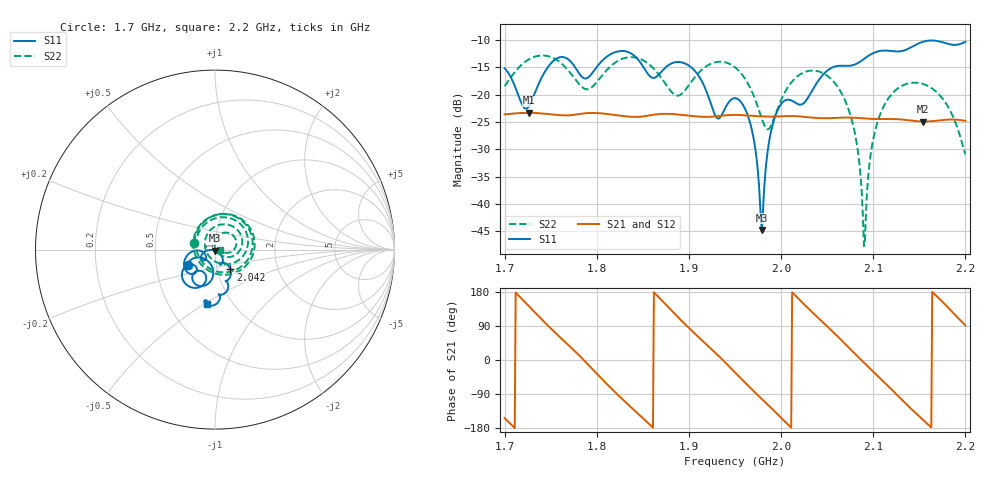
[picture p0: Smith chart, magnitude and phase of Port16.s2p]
# Hz S RI R 50
! CMT, CMT808U, 21440046, 21.4.3/4
! Date: 12/11/2025 6:06:06 PM
! Data: Format (Calibration Info)
! Freq	S11:Re/Im(F2)	S41:Re/Im(F2)	S14:Re/Im(F2)	S44:Re/Im(F2)
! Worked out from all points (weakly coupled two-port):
!   501 points, 1.7 GHz to 2.2 GHz, reference 50 ohm
!   highest |S21| = -23.31 dB at 1.726 GHz (marker M1); lowest = -24.9 dB at 2.154 GHz (marker M2)
!   lowest |S11| = -44.8 dB at 1.979 GHz (marker M3), VSWR 1.01, Z = 49.8 - j0.553 ohm
!   |S11| at or under -10 dB: start of sweep to end of sweep
!   |S22| runs from -47.7 to -12.8 dB; largest |S21 - S12| = 0.00066
!   S11 on the Smith chart (normalised r, x): 1.7 GHz: 0.73, -0.13; 2.042 GHz: 1.16, -0.26; 2.2 GHz: 0.77, -0.51
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1.7e9  -0.1518 -0.086  -0.0591 -0.0298  -0.0587 -0.0301  -0.1142 0.0361
1.726e9  -0.0327 -0.0705  -0.0545 0.0413  -0.0546 0.0408  0.0714 0.1979
1.757e9  -0.0726 -0.2033  0.0255 0.0602  0.025 0.0602  0.201 -0.0508
1.784e9  -0.0863 -0.1174  0.0669 0.00545  0.0668 0.00591  -0.0559 -0.1036
1.823e9  -0.1372 -0.2085  -0.00251 -0.0646  -0.00199 -0.0645  0.0516 0.198
1.867e9  -0.1006 -0.114  -0.0646 0.0158  -0.0647 0.0153  0.0977 -0.1198
1.897e9  -0.1724 -0.0827  -0.00195 0.0647  -0.0024 0.0646  -0.1052 0.0423
1.931e9  -0.055 -0.0258  0.0618 0.0149  0.0616 0.0155  0.132 0.1506
1.95e9  -0.0745 -0.0555  0.055 -0.0355  0.0552 -0.0349  0.1784 0.0061
1.968e9  -0.0484 -0.00699  0.0147 -0.0624  0.0152 -0.0622  0.0719 -0.0814
1.979e9  -0.0016 -0.00555  -0.014 -0.0618  -0.0135 -0.0618  -0.00888 -0.0601
1.986e9  0.0252 -0.0211  -0.0307 -0.0552  -0.0301 -0.0553  -0.0433 -0.0214
1.995e9  0.0432 -0.0531  -0.0485 -0.0406  -0.0481 -0.0409  -0.0564 0.0416
2.034e9  0.0702 -0.0849  -0.0359 0.0502  -0.0363 0.0499  0.1321 0.1015
2.042e9  0.0862 -0.1107  -0.0179 0.0584  -0.0184 0.0581  0.1507 0.0602
2.076e9  0.0602 -0.175  0.0552 0.0277  0.055 0.0281  0.0485 -0.0384
2.084e9  0.0691 -0.1843  0.0608 0.00767  0.0607 0.00809  0.0186 -0.0204
2.09e9  0.0738 -0.2  0.0602 -0.00759  0.0602 -0.00707  0.0041 0.000124
2.1e9  0.0654 -0.2316  0.0517 -0.0306  0.0519 -0.0301  -0.00192 0.0393
2.117e9  0.0267 -0.2516  0.0198 -0.0567  0.0203 -0.0565  0.0324 0.0884
2.154e9  0.00228 -0.3061  -0.0526 -0.0214  -0.0525 -0.0219  0.1191 0.0402
2.2e9  -0.0421 -0.3031  -0.00108 0.0576  -0.00157 0.0575  0.0284 0.000423
